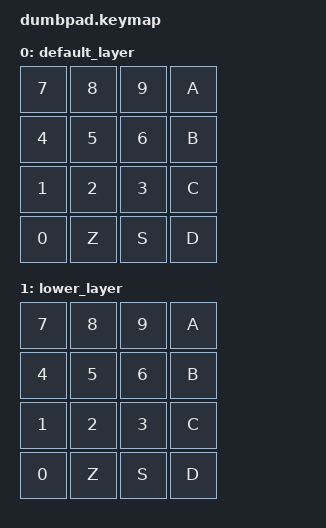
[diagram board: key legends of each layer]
#include <behaviors.dtsi>
#include <dt-bindings/zmk/keys.h>
#include <dt-bindings/zmk/bt.h>
#include <dt-bindings/zmk/outputs.h>


#define DEFAULT 0
#define LOWER 1

/ {
    keymap {
        compatible = "zmk,keymap";

        default_layer {
            // --------------------------------------------------------------------------------------------------------------------------------------------------------------------
            // |   ESC   |    Q    |    W    |    E    |    R    |    T    |                                          |    Y    |    U    |    I    |    O    |    P    |    \    |
            // |   TAB   |    A    |    S    |    D    |    F    |    G    |                                          |    H    |    J    |    K    |    L    |    ;    |    '    |
            // |  SHIFT  |    Z    |    X    |    C    |    V    |    B    | CTRL+A  | CTRL+C  |  |  CTRL+V |  CTRL+X |    N    |    M    |    ,    |    .    |    /    |  R CTRL |
            //                               |   GUI   |   DEL   | RETURN  |  SPACE  | ESCAPE  |  |  RETURN |  SPACE  |   TAB   |   BSPC  |  R ALT  |

            bindings = <
&kp NUMBER_7     &kp NUMBER_8 &kp NUMBER_9  &kp A
&kp NUMBER_4      &kp NUMBER_5  &kp NUMBER_6   &kp B
&kp NUMBER_1  &kp NUMBER_2  &kp NUMBER_3  &kp C
&kp NUMBER_0 &kp Z  &kp S  &kp D
            >;
        };

        lower_layer {
            // --------------------------------------------------------------------------------------------------------------------------------------------------------------------
            // |   ESC   |    Q    |    W    |    E    |    R    |    T    |                                          |    Y    |    U    |    I    |    O    |    P    |    \    |
            // |   TAB   |    A    |    S    |    D    |    F    |    G    |                                          |    H    |    J    |    K    |    L    |    ;    |    '    |
            // |  SHIFT  |    Z    |    X    |    C    |    V    |    B    | CTRL+A  | CTRL+C  |  |  CTRL+V |  CTRL+X |    N    |    M    |    ,    |    .    |    /    |  R CTRL |
            //                               |   GUI   |   DEL   | RETURN  |  SPACE  | ESCAPE  |  |  RETURN |  SPACE  |   TAB   |   BSPC  |  R ALT  |

            bindings = <
&kp NUMBER_7     &kp NUMBER_8 &kp NUMBER_9  &kp A
&kp NUMBER_4      &kp NUMBER_5  &kp NUMBER_6   &kp B
&kp NUMBER_1  &kp NUMBER_2  &kp NUMBER_3  &kp C
&kp NUMBER_0 &kp Z  &kp S  &kp D
            >;
        };
    };
};
